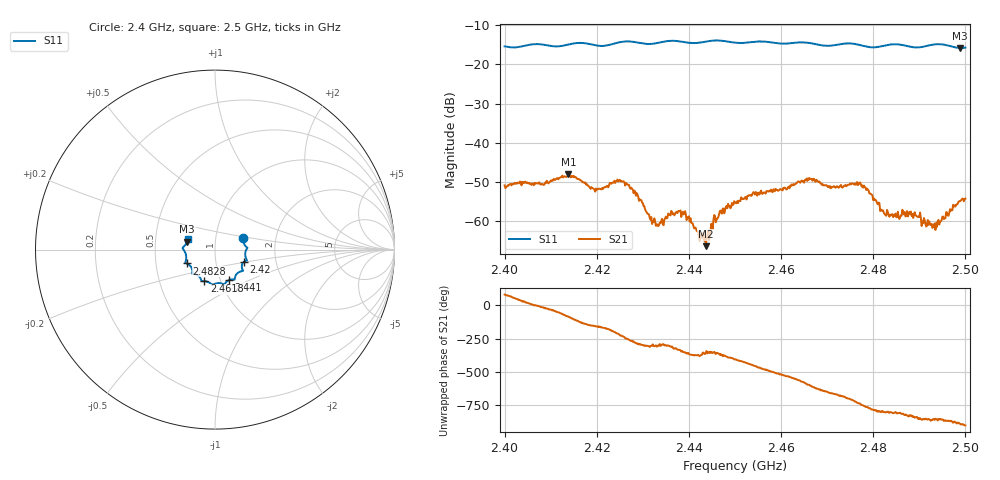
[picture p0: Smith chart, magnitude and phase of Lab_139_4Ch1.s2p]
# Hz S RI R 50
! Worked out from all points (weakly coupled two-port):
!   601 points, 2.4 GHz to 2.5 GHz, reference 50 ohm
!   highest |S21| = -48.09 dB at 2.4138 GHz (marker M1); lowest = -66.4 dB at 2.4437 GHz (marker M2)
!   lowest |S11| = -15.8 dB at 2.4988 GHz (marker M3), VSWR 1.39, Z = 36.4 + j3.31 ohm
!   |S11| at or under -10 dB: start of sweep to end of sweep
!   S12 and S22 are empty: the file has one direction only
!   S11 on the Smith chart (normalised r, x): 2.4 GHz: 1.36, +0.18; 2.42 GHz: 1.36, -0.20; 2.441 GHz: 1.10, -0.39; 2.4618 GHz: 0.84, -0.31; 2.4828 GHz: 0.72, -0.11; 2.5 GHz: 0.73, +0.09
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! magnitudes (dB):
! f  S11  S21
! 2.4 GHz  -15.4  -50.9
! 2.4138 GHz  -14.9  -48.1
! 2.4167 GHz  -14.5  -49.7
! 2.42 GHz  -15.2  -52.0
! 2.4255 GHz  -14.2  -49.9
! 2.4283 GHz  -14.3  -52.5
! 2.4333 GHz  -14.5  -61.3
! 2.4377 GHz  -14.1  -57.4
! 2.441 GHz  -14.6  -61.4
! 2.4437 GHz  -14.2  -66.4
! 2.447 GHz  -14.0  -57.8
! 2.45 GHz  -14.5  -55.2
! 2.4618 GHz  -14.6  -51.6
! 2.4667 GHz  -14.7  -49.3
! 2.4707 GHz  -15.2  -51.1
! 2.477 GHz  -15.0  -50.5
! 2.4828 GHz  -15.1  -58.6
! 2.4833 GHz  -15.0  -58.4
! 2.4885 GHz  -15.6  -58.2
! 2.4933 GHz  -14.9  -60.6
! 2.4988 GHz  -15.8  -54.9
! 2.5 GHz  -15.7  -54.3
